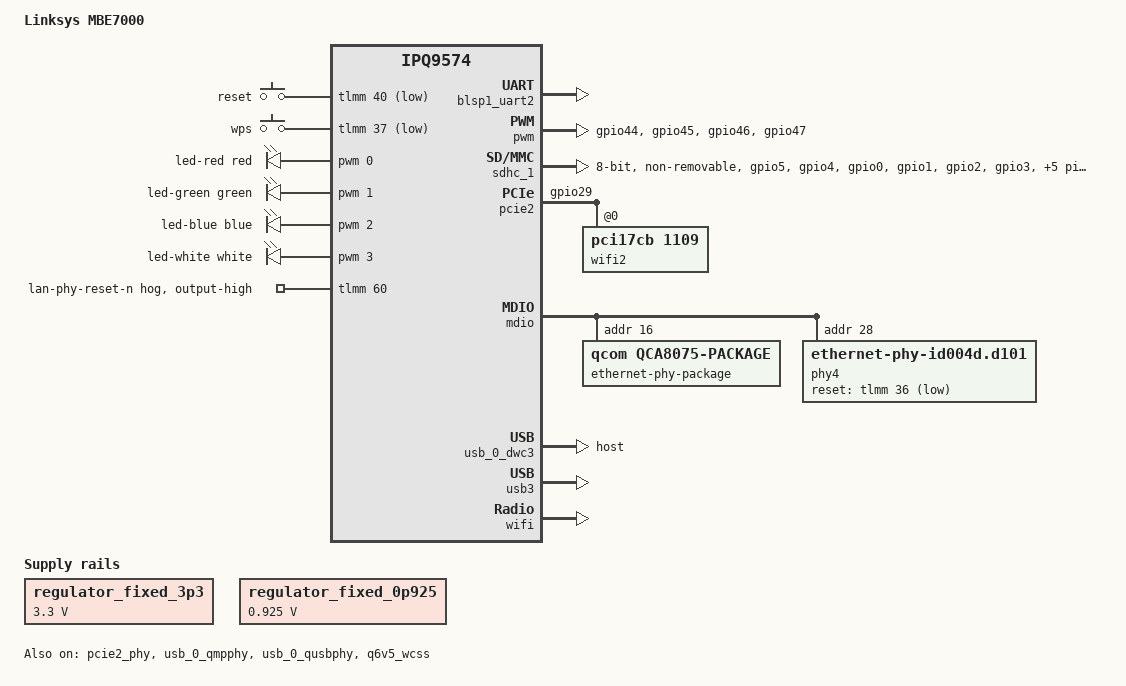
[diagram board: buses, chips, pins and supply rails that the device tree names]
// SPDX-License-Identifier: (GPL-2.0+ OR BSD-3-Clause)

/dts-v1/;

#include <dt-bindings/gpio/gpio.h>
#include <dt-bindings/input/input.h>
#include <dt-bindings/leds/common.h>
#include "ipq9574.dtsi"

/*
 * Board data derived from decompiling the FIT-embedded device tree of the
 * vendor firmware (Linksys MBE7000_1.0.10.215314), which ships the
 * near-stock Qualcomm IPQ9574/AP-AL02-C4 reference platform DT (model =
 * "Qualcomm Technologies, Inc. IPQ9574/AP-AL02-C4"). Storage, console,
 * button GPIOs and PCIe wifi slot usage below come directly from that
 * dump. No gpio-leds nodes exist anywhere in the vendor kernel DT -
 * LEDs are presumably driven by the onboard NXP K32W061 (Zigbee/Thread
 * coprocessor on UART4, gpio50-53, reset gpio31, isp gpio57 - not wired
 * up here) or another out-of-kernel mechanism, so none are defined yet.
 *
 * Ethernet mirrors the IPQ9574 RDP433 reference exactly:
 *   - LAN: Qualcomm QCA8075 (Malibu) quad gigabit PHY package at MDIO
 *     0x10-0x13, over UNIPHY0/PCS0 channels 0-3 in QSGMII (ports 1-4).
 *   - WAN: discrete Qualcomm QCA8081 2.5G PHY at MDIO 0x1c, over
 *     UNIPHY2/PCS2 in USXGMII (port 6).
 * Both PHYs are identified from hardware, not assumed: U-Boot reads PHY
 * IDs 004d.d0b1 (QCA8075) and 004d.d101 (QCA8081); the vendor QSDK kernel
 * loads the "malibu" + "qca808x" drivers and never a QCA8084/manhattan.
 * See MBE7000_PORTING_NOTES.md for the full identification evidence.
 */

/ {
	model = "Linksys MBE7000";
	compatible = "linksys,mbe7000", "qcom,ipq9574";

	aliases {
		serial0 = &blsp1_uart2;
	};

	chosen {
		stdout-path = "serial0:115200n8";
	};

	regulator_fixed_3p3: s3300 {
		compatible = "regulator-fixed";
		regulator-min-microvolt = <3300000>;
		regulator-max-microvolt = <3300000>;
		regulator-boot-on;
		regulator-always-on;
		regulator-name = "fixed_3p3";
	};

	regulator_fixed_0p925: s0925 {
		compatible = "regulator-fixed";
		regulator-min-microvolt = <925000>;
		regulator-max-microvolt = <925000>;
		regulator-boot-on;
		regulator-always-on;
		regulator-name = "fixed_0p925";
	};

	gpio-keys {
		compatible = "gpio-keys";
		pinctrl-0 = <&gpio_keys_default>;
		pinctrl-names = "default";

		reset {
			label = "reset";
			linux,code = <KEY_RESTART>;
			gpios = <&tlmm 40 GPIO_ACTIVE_LOW>;
			linux,input-type = <EV_KEY>;
			debounce-interval = <60>;
		};

		wps {
			label = "wps";
			linux,code = <KEY_WPS_BUTTON>;
			gpios = <&tlmm 37 GPIO_ACTIVE_LOW>;
			linux,input-type = <EV_KEY>;
			debounce-interval = <60>;
		};
	};

	/*
	 * Front-panel RGBW status LED, driven by the SoC PWM block (4 channels
	 * at gpio44-47). Channel/pin/colour mapping taken from the MBE70WRT
	 * vendor DT (red=ch0/gpio44, green=ch1/gpio45, blue=ch2/gpio46,
	 * white=ch3/gpio47; period 1250000 ns). Note this tree's ipq9574.dtsi
	 * pwm node uses #pwm-cells = <3> (channel, period, flags), unlike the
	 * QSDK's 2-cell form. Polarity assumed normal (active-high); flip to
	 * PWM_POLARITY_INVERTED if the LED turns out common-anode on hardware.
	 */
	pwm-leds {
		compatible = "pwm-leds";

		led-red {
			color = <LED_COLOR_ID_RED>;
			function = LED_FUNCTION_STATUS;
			pwms = <&pwm 0 1250000 0>;
			max-brightness = <255>;
		};

		led-green {
			color = <LED_COLOR_ID_GREEN>;
			function = LED_FUNCTION_STATUS;
			pwms = <&pwm 1 1250000 0>;
			max-brightness = <255>;
		};

		led-blue {
			color = <LED_COLOR_ID_BLUE>;
			function = LED_FUNCTION_STATUS;
			pwms = <&pwm 2 1250000 0>;
			max-brightness = <255>;
		};

		led-white {
			color = <LED_COLOR_ID_WHITE>;
			function = LED_FUNCTION_STATUS;
			pwms = <&pwm 3 1250000 0>;
			max-brightness = <255>;
		};
	};
};

&blsp1_uart2 {
	pinctrl-0 = <&uart2_pins>;
	pinctrl-names = "default";
	status = "okay";
};

&qcom_ppe {
	ethernet-ports {
		#address-cells = <1>;
		#size-cells = <0>;

		port@1 {
			reg = <1>;
			phy-mode = "qsgmii";
			managed = "in-band-status";
			label = "lan1";
			phy-handle = <&phy0>;
			pcs-handle = <&pcs0_ch0>;
			clocks = <&nsscc NSS_CC_PORT1_MAC_CLK>,
				 <&nsscc NSS_CC_PORT1_RX_CLK>,
				 <&nsscc NSS_CC_PORT1_TX_CLK>;
			clock-names = "mac",
				      "rx",
				      "tx";
			resets = <&nsscc PORT1_MAC_ARES>,
				 <&nsscc PORT1_RX_ARES>,
				 <&nsscc PORT1_TX_ARES>;
			reset-names = "mac",
				      "rx",
				      "tx";
		};

		port@2 {
			reg = <2>;
			phy-mode = "qsgmii";
			managed = "in-band-status";
			label = "lan2";
			phy-handle = <&phy1>;
			pcs-handle = <&pcs0_ch1>;
			clocks = <&nsscc NSS_CC_PORT2_MAC_CLK>,
				 <&nsscc NSS_CC_PORT2_RX_CLK>,
				 <&nsscc NSS_CC_PORT2_TX_CLK>;
			clock-names = "mac",
				      "rx",
				      "tx";
			resets = <&nsscc PORT2_MAC_ARES>,
				 <&nsscc PORT2_RX_ARES>,
				 <&nsscc PORT2_TX_ARES>;
			reset-names = "mac",
				      "rx",
				      "tx";
		};

		port@3 {
			reg = <3>;
			phy-mode = "qsgmii";
			managed = "in-band-status";
			label = "lan3";
			phy-handle = <&phy2>;
			pcs-handle = <&pcs0_ch2>;
			clocks = <&nsscc NSS_CC_PORT3_MAC_CLK>,
				 <&nsscc NSS_CC_PORT3_RX_CLK>,
				 <&nsscc NSS_CC_PORT3_TX_CLK>;
			clock-names = "mac",
				      "rx",
				      "tx";
			resets = <&nsscc PORT3_MAC_ARES>,
				 <&nsscc PORT3_RX_ARES>,
				 <&nsscc PORT3_TX_ARES>;
			reset-names = "mac",
				      "rx",
				      "tx";
		};

		port@4 {
			reg = <4>;
			phy-mode = "qsgmii";
			managed = "in-band-status";
			label = "lan4";
			phy-handle = <&phy3>;
			pcs-handle = <&pcs0_ch3>;
			clocks = <&nsscc NSS_CC_PORT4_MAC_CLK>,
				 <&nsscc NSS_CC_PORT4_RX_CLK>,
				 <&nsscc NSS_CC_PORT4_TX_CLK>;
			clock-names = "mac",
				      "rx",
				      "tx";
			resets = <&nsscc PORT4_MAC_ARES>,
				 <&nsscc PORT4_RX_ARES>,
				 <&nsscc PORT4_TX_ARES>;
			reset-names = "mac",
				      "rx",
				      "tx";
		};

		/*
		 * WAN, via a discrete QCA8081 2.5G PHY on &mdio (raw bus address
		 * 0x1c) rather than the LAN switch package - modeled after
		 * qcom_rdp433's port6/wan (over pcs2_ch0/UNIPHY2), which the
		 * vendor DTS's "uniphy2_port6_*" clock names confirm is the same
		 * wiring used here.
		 */
		port@6 {
			reg = <6>;
			phy-mode = "usxgmii";
			managed = "in-band-status";
			label = "wan";
			phy-handle = <&phy4>;
			pcs-handle = <&pcs2_ch0>;
			clocks = <&nsscc NSS_CC_PORT6_MAC_CLK>,
				 <&nsscc NSS_CC_PORT6_RX_CLK>,
				 <&nsscc NSS_CC_PORT6_TX_CLK>;
			clock-names = "mac",
				      "rx",
				      "tx";
			resets = <&nsscc PORT6_MAC_ARES>,
				 <&nsscc PORT6_RX_ARES>,
				 <&nsscc PORT6_TX_ARES>;
			reset-names = "mac",
				      "rx",
				      "tx";
		};
	};
};

&rpm_requests {
	regulators {
		compatible = "qcom,rpm-mp5496-regulators";

		ipq9574_s1: s1 {
			regulator-min-microvolt = <725000>;
			regulator-max-microvolt = <1075000>;
		};

		mp5496_l2: l2 {
			regulator-min-microvolt = <1800000>;
			regulator-max-microvolt = <1800000>;
			regulator-always-on;
			regulator-boot-on;
		};

		mp5496_l5: l5 {
			regulator-min-microvolt = <1800000>;
			regulator-max-microvolt = <1800000>;
			regulator-always-on;
			regulator-boot-on;
		};
	};
};

&sleep_clk {
	clock-frequency = <32000>;
};

&pwm {
	pinctrl-0 = <&pwm_pins>;
	pinctrl-names = "default";
	status = "okay";
};

&sdhc_1 {
	bus-width = <8>;
	max-frequency = <384000000>;
	mmc-ddr-1_8v;
	mmc-hs200-1_8v;
	mmc-hs400-1_8v;
	mmc-hs400-enhanced-strobe;
	non-removable;
	pinctrl-0 = <&sdc_default_state>;
	pinctrl-names = "default";
	status = "okay";
};

/*
 * The vendor firmware also enables an on-die 2.4 GHz radio
 * (wifi@c0000000, "qcom,cnss-qca9574"). That node/driver isn't wired up
 * in this tree's ipq9574.dtsi/ath12k support yet, so it's left out here.
 *
 * pcie2 (gen3x2) carries the sole PCIe radio: a QCN9274 running dual-MAC
 * (5 GHz + 6 GHz on one device, 0003:01:00.0). 5 GHz is working; 6 GHz
 * needs the amss_dualmac firmware + ath12k split-phy config (WIP).
 * pcie0 is unpopulated, pcie3 ships status=disabled in the vendor DT, and
 * pcie1 never links even under the vendor firmware (no radio behind it) -
 * so all three are left at their .dtsi-default disabled state.
 */
&pcie2_phy {
	status = "okay";
};

&pcie2 {
	pinctrl-0 = <&pcie2_default>;
	pinctrl-names = "default";

	perst-gpios = <&tlmm 29 GPIO_ACTIVE_LOW>;
	status = "okay";

	pcie@0,0 {
		#address-cells = <3>;
		#size-cells = <2>;
		reg = <0 0 0 0 0>;

		wifi2: pcie@0 {
			compatible = "pci17cb,1109";
			reg = <0 0 0 0 0>;
			qcom,board_id = <0x04>;
			/*
			 * The QCN9274 here runs in dual-MAC mode (5 GHz +
			 * 6 GHz on one device), but this board leaves the
			 * OTP dual-MAC board-id bit unset (OTP board_id
			 * reads 0x0). The vendor selects the dual-MAC
			 * firmware via its own board config; mainline ath12k
			 * only keys off the OTP bit, so tell the driver to
			 * force dual-MAC firmware selection here. Without it
			 * only MAC0/5 GHz comes up (MAC1 WMI connect -71).
			 */
			qcom,ath12k-force-dualmac;
		};
	};
};

&tlmm {
	sdc_default_state: sdc-default-state {
		clk-pins {
			pins = "gpio5";
			function = "sdc_clk";
			drive-strength = <8>;
			bias-disable;
		};

		cmd-pins {
			pins = "gpio4";
			function = "sdc_cmd";
			drive-strength = <8>;
			bias-pull-up;
		};

		data-pins {
			pins = "gpio0", "gpio1", "gpio2",
			       "gpio3", "gpio6", "gpio7",
			       "gpio8", "gpio9";
			function = "sdc_data";
			drive-strength = <8>;
			bias-pull-up;
		};

		rclk-pins {
			pins = "gpio10";
			function = "sdc_rclk";
			drive-strength = <8>;
			bias-pull-down;
		};
	};

	gpio_keys_default: gpio-keys-default-state {
		pins = "gpio37", "gpio40";
		function = "gpio";
		drive-strength = <8>;
		bias-pull-up;
	};

	pwm_pins: pwm-state {
		pins = "gpio44", "gpio45", "gpio46", "gpio47";
		function = "pwm";
		drive-strength = <8>;
	};

	pcie2_default: pcie2-default-state {
		perst-n-pins {
			pins = "gpio29";
			function = "gpio";
			drive-strength = <8>;
			bias-pull-down;
			output-low;
		};
	};

	/*
	 * LAN PHY package (QCA8075) hardware reset (active-low), gpio60. Held
	 * HIGH (out of reset) for the whole runtime via a gpio-hog so it is
	 * driven before the MDIO bus scans for the PHYs. This is THE critical
	 * bring-up requirement on this board: Linksys U-Boot leaves gpio60 as an
	 * input (floating low = package held in reset), and mainline never drives
	 * it, so without this hog the entire package is dead on MDIO (all of
	 * addresses 0x10-0x13 read 0xffff). Confirmed live: driving gpio60 high
	 * brings the PHYs up. A plain reset-gpios on &mdio does not work -
	 * mainline's MDIO core pulses it low mid-registration and the chip does
	 * not recover; a static hog avoids that entirely. (RDP433 uses
	 * reset-gpios because its U-Boot leaves gpio60 driven; ours does not.)
	 */
	lan_phy_reset_hog: lan-phy-reset-hog {
		gpio-hog;
		gpios = <60 GPIO_ACTIVE_HIGH>;
		output-high;
		line-name = "lan-phy-reset-n";
	};
};

&mdio {
	status = "okay";
	clock-frequency = <6250000>;

	/*
	 * LAN: Qualcomm QCA8075 (Malibu) quad gigabit PHY package at MDIO
	 * 0x10-0x13, connected to the SoC over UNIPHY0/PCS0 channels 0-3 in
	 * QSGMII (PSGMII) mode - the same wiring as the IPQ9574 RDP433 reference.
	 * The package hardware reset (gpio60) is held out of reset by the
	 * lan_phy_reset_hog in &tlmm above; do NOT add reset-gpios here (see the
	 * hog comment for why the mainline MDIO reset pulse does not work).
	 */
	ethernet-phy-package@10 {
		compatible = "qcom,qca8075-package";
		#address-cells = <1>;
		#size-cells = <0>;
		reg = <0x10>;
		qcom,package-mode = "qsgmii";

		phy0: ethernet-phy@10 {
			reg = <0x10>;
		};

		phy1: ethernet-phy@11 {
			reg = <0x11>;
		};

		phy2: ethernet-phy@12 {
			reg = <0x12>;
		};

		phy3: ethernet-phy@13 {
			reg = <0x13>;
		};
	};

	/*
	 * WAN: discrete Qualcomm QCA8081 single-port 2.5G PHY at MDIO bus
	 * address 0x1c, reset via gpio36 (separate from the LAN package reset).
	 * Confirmed from hardware: U-Boot reads PHY ID 004d.d101 (= QCA8081) and
	 * the vendor QSDK kernel registers "qca808x phydev 90000.mdio:1c".
	 */
	phy4: ethernet-phy@1c {
		compatible = "ethernet-phy-id004d.d101";
		reg = <0x1c>;
		reset-gpios = <&tlmm 36 GPIO_ACTIVE_LOW>;
	};
};

&usb_0_dwc3 {
	dr_mode = "host";
};

&usb_0_qmpphy {
	vdda-phy-supply = <&regulator_fixed_0p925>;

	status = "okay";
};

&usb_0_qusbphy {
	vdd-supply = <&regulator_fixed_0p925>;
	vdda-phy-dpdm-supply = <&regulator_fixed_3p3>;

	status = "okay";
};

&usb3 {
	status = "okay";
};

&ref_48mhz_clk {
	clock-div = <1>;
	clock-mult = <1>;
};

&xo_board_clk {
	clock-div = <2>;
	clock-mult = <1>;
};

&xo_clk {
	clock-frequency = <48000000>;
};

/* pcs1/port5 (lan5) is unused on this 4 LAN + 1 WAN board; pcs2/port6 (wan) stays enabled. */
&pcs1 {
	status = "disabled";
};

/*
 * 2.4 GHz on-die radio: IPQ95xx internal Wi-Fi 6 (QCN5024-class) radio on the
 * AHB bus, driven by ath11k, running on the SoC Q6 (secure PIL, &q6v5_wcss).
 * Node data (interrupts incl. Q6 watchdog SPI 325, addresses, board_id) derived
 * from the vendor DTB (AP-AL02-C4). WIP - see MBE7000_ATH11K_24G_BACKPORT.md.
 */
&q6v5_wcss {
	status = "okay";
};

/ {
	reserved-memory {
		wlan_ce_mem: wlan-ce@4d800000 {
			no-map;
			reg = <0x0 0x4d800000 0x0 0x500000>;
		};
	};
};

&soc {
	wifi: wifi@c000000 {
		compatible = "qcom,ipq9574-wifi";
		reg = <0xc000000 0x1000000>;
		interrupts = <GIC_SPI 320 IRQ_TYPE_EDGE_RISING>,
		             <GIC_SPI 319 IRQ_TYPE_EDGE_RISING>,
		             <GIC_SPI 318 IRQ_TYPE_EDGE_RISING>,
		             <GIC_SPI 325 IRQ_TYPE_EDGE_RISING>,
		             <GIC_SPI 316 IRQ_TYPE_EDGE_RISING>,
		             <GIC_SPI 315 IRQ_TYPE_EDGE_RISING>,
		             <GIC_SPI 314 IRQ_TYPE_EDGE_RISING>,
		             <GIC_SPI 311 IRQ_TYPE_EDGE_RISING>,
		             <GIC_SPI 310 IRQ_TYPE_EDGE_RISING>,
		             <GIC_SPI 411 IRQ_TYPE_EDGE_RISING>,
		             <GIC_SPI 410 IRQ_TYPE_EDGE_RISING>,
		             <GIC_SPI 40 IRQ_TYPE_EDGE_RISING>,
		             <GIC_SPI 39 IRQ_TYPE_EDGE_RISING>,
		             <GIC_SPI 302 IRQ_TYPE_EDGE_RISING>,
		             <GIC_SPI 301 IRQ_TYPE_EDGE_RISING>,
		             <GIC_SPI 37 IRQ_TYPE_EDGE_RISING>,
		             <GIC_SPI 36 IRQ_TYPE_EDGE_RISING>,
		             <GIC_SPI 296 IRQ_TYPE_EDGE_RISING>,
		             <GIC_SPI 295 IRQ_TYPE_EDGE_RISING>,
		             <GIC_SPI 294 IRQ_TYPE_EDGE_RISING>,
		             <GIC_SPI 293 IRQ_TYPE_EDGE_RISING>,
		             <GIC_SPI 292 IRQ_TYPE_EDGE_RISING>,
		             <GIC_SPI 291 IRQ_TYPE_EDGE_RISING>,
		             <GIC_SPI 290 IRQ_TYPE_EDGE_RISING>,
		             <GIC_SPI 289 IRQ_TYPE_EDGE_RISING>,
		             <GIC_SPI 288 IRQ_TYPE_EDGE_RISING>,
		             <GIC_SPI 239 IRQ_TYPE_EDGE_RISING>,
		             <GIC_SPI 236 IRQ_TYPE_EDGE_RISING>,
		             <GIC_SPI 235 IRQ_TYPE_EDGE_RISING>,
		             <GIC_SPI 234 IRQ_TYPE_EDGE_RISING>,
		             <GIC_SPI 233 IRQ_TYPE_EDGE_RISING>,
		             <GIC_SPI 232 IRQ_TYPE_EDGE_RISING>,
		             <GIC_SPI 231 IRQ_TYPE_EDGE_RISING>,
		             <GIC_SPI 230 IRQ_TYPE_EDGE_RISING>,
		             <GIC_SPI 229 IRQ_TYPE_EDGE_RISING>,
		             <GIC_SPI 228 IRQ_TYPE_EDGE_RISING>,
		             <GIC_SPI 224 IRQ_TYPE_EDGE_RISING>,
		             <GIC_SPI 223 IRQ_TYPE_EDGE_RISING>,
		             <GIC_SPI 203 IRQ_TYPE_EDGE_RISING>,
		             <GIC_SPI 183 IRQ_TYPE_EDGE_RISING>,
		             <GIC_SPI 180 IRQ_TYPE_EDGE_RISING>,
		             <GIC_SPI 179 IRQ_TYPE_EDGE_RISING>,
		             <GIC_SPI 178 IRQ_TYPE_EDGE_RISING>,
		             <GIC_SPI 177 IRQ_TYPE_EDGE_RISING>,
		             <GIC_SPI 176 IRQ_TYPE_EDGE_RISING>,
		             <GIC_SPI 163 IRQ_TYPE_EDGE_RISING>,
		             <GIC_SPI 162 IRQ_TYPE_EDGE_RISING>,
		             <GIC_SPI 160 IRQ_TYPE_EDGE_RISING>,
		             <GIC_SPI 414 IRQ_TYPE_EDGE_RISING>,
		             <GIC_SPI 159 IRQ_TYPE_EDGE_RISING>,
		             <GIC_SPI 158 IRQ_TYPE_EDGE_RISING>,
		             <GIC_SPI 157 IRQ_TYPE_EDGE_RISING>,
		             <GIC_SPI 156 IRQ_TYPE_EDGE_RISING>;
		interrupt-names = "misc-pulse1",
		                  "misc-latch",
		                  "sw-exception",
		                  "watchdog",
		                  "ce0",
		                  "ce1",
		                  "ce2",
		                  "ce3",
		                  "ce4",
		                  "ce5",
		                  "ce6",
		                  "ce7",
		                  "ce8",
		                  "ce9",
		                  "ce10",
		                  "ce11",
		                  "host2wbm-desc-feed",
		                  "host2reo-re-injection",
		                  "host2reo-command",
		                  "host2rxdma-monitor-ring3",
		                  "host2rxdma-monitor-ring2",
		                  "host2rxdma-monitor-ring1",
		                  "reo2ost-exception",
		                  "wbm2host-rx-release",
		                  "reo2host-status",
		                  "reo2host-destination-ring4",
		                  "reo2host-destination-ring3",
		                  "reo2host-destination-ring2",
		                  "reo2host-destination-ring1",
		                  "rxdma2host-monitor-destination-mac3",
		                  "rxdma2host-monitor-destination-mac2",
		                  "rxdma2host-monitor-destination-mac1",
		                  "ppdu-end-interrupts-mac3",
		                  "ppdu-end-interrupts-mac2",
		                  "ppdu-end-interrupts-mac1",
		                  "rxdma2host-monitor-status-ring-mac3",
		                  "rxdma2host-monitor-status-ring-mac2",
		                  "rxdma2host-monitor-status-ring-mac1",
		                  "host2rxdma-host-buf-ring-mac3",
		                  "host2rxdma-host-buf-ring-mac2",
		                  "host2rxdma-host-buf-ring-mac1",
		                  "rxdma2host-destination-ring-mac3",
		                  "rxdma2host-destination-ring-mac2",
		                  "rxdma2host-destination-ring-mac1",
		                  "host2tcl-input-ring4",
		                  "host2tcl-input-ring3",
		                  "host2tcl-input-ring2",
		                  "host2tcl-input-ring1",
		                  "wbm2host-tx-completions-ring4",
		                  "wbm2host-tx-completions-ring3",
		                  "wbm2host-tx-completions-ring2",
		                  "wbm2host-tx-completions-ring1",
		                  "tcl2host-status-ring";
		qcom,rproc = <&q6v5_wcss>;
		memory-region = <&q6_region>, <&wlan_ce_mem>;
		status = "okay";
	};
};
